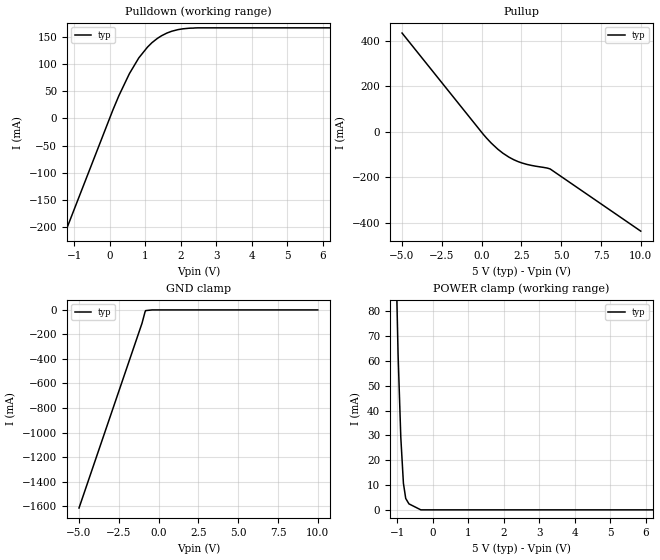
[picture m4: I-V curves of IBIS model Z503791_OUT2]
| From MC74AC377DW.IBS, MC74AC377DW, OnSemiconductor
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| (C) COPYRIGHT 1993-2000
| MENTOR GRAPHICS CORPORATION
| ICX STANDARD LIBRARY, ICX PROJECT MODELING,
| ICX CUSTOM MODELING, ICX VENDOR MODEL
| ALL RIGHTS RESERVED.
| THE FOLLOWING ARE TRADEMARKS OR SERVICE MARKS OF
| MENTOR GRAPHICS CORPORATION:ICX (R), ICX STANDARD
| LIBRARY(R), ICX PROJECT MODELING(R), ICX CUSTOM
| MODELING(R), qualityIBIS(TM), MODELVIEWER(TM),
| AND MODELEDITOR(TM)
| ALL COPIES OF SOFTWARE, INCLUDING BUT NOT LIMITED TO
| ANY MODIFICATIONS, ENHANCEMENTS OR DERIVATIVE WORKS,
| MUST CONTAIN ALL MENTOR GRAPHICS CORPORATION'S
| NOTICES AND LEGENDS, INCLUDING THOSE EMBEDDED IN
| SOFTWARE AND THOSE AFFIXED TO SOFTWARE MEDIUM
| AND CONTAINER, AS RECEIVED FROM MENTOR GRAPHICS
| CORPORATION.
| Model Application Version 1.89 2/18/99.
[Model] Z503791_OUT2
Model_type Output
Vref=0.000V
Rref=500.0ohms
Cref=50.00pF
Vmeas=2.500V
C_comp 8.000pF NA NA
| variable typ   min   max
[Voltage Range] 5.000V NA NA
[POWER Clamp Reference] 5.000V NA NA
[Pullup Reference] 5.000V NA NA
[Pulldown Reference] 0.000V NA NA
[GND Clamp Reference] 0.000V NA NA
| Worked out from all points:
|   slope of the pulldown table from 0 to 0.75 V, typ, clamps not added: 7.23 ohm
|   slope of the pullup table from 0 to 0.75 V, typ, clamps not added: 13.1 ohm
[GND Clamp]
-5V       -1.616A    NA         NA
-1.04V    -108.5mA   NA         NA
-854.5mV  -17.67mA   NA         NA
-815.5mV  -5.743mA   NA         NA
-407.8mV  0A         NA         NA
10V       0A         NA         NA
[Pulldown]
-5V       -842.3mA   NA         NA
88.73mV   15.35mA    NA         NA
260.7mV   42.26mA    NA         NA
556.6mV   82.93mA    NA         NA
821mV     112mA      NA         NA
1.064V    131.8mA    NA         NA
1.191V    140.1mA    NA         NA
1.343V    148mA      NA         NA
1.611V    157.9mA    NA         NA
1.925V    164.3mA    NA         NA
2.481V    167.6mA    NA         NA
10V       167.6mA    NA         NA
[Pullup]
-5V       434.8mA    NA         NA
94mV      -10.56mA   NA         NA
606mV     -50.06mA   NA         NA
1.016V    -76.89mA   NA         NA
1.719V    -112.1mA   NA         NA
2.28V     -131.3mA   NA         NA
2.842V    -143.9mA   NA         NA
4.304V    -163.9mA   NA         NA
10V       -438mA     NA         NA
[POWER Clamp]
-5V       2.632A     NA         NA
-975mV    62.59mA    NA         NA
-899mV    29.33mA    NA         NA
-825mV    10.73mA    NA         NA
-760mV    4.598mA    NA         NA
-669mV    2.415mA    NA         NA
-334.5mV  0A         NA         NA
10V       0A         NA         NA
[Ramp]
| variable typ min max
dV/dt_r 2.950/306.9p NA NA
dV/dt_f 2.950/295.4p NA NA
R_load = 500.0Ohms
